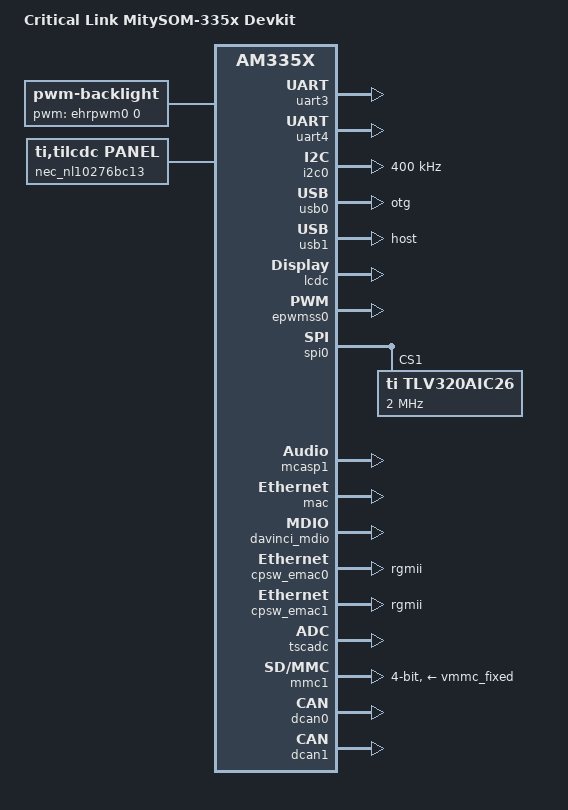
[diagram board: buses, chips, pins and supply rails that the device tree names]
/*
 * Copyright (C) 2012 Texas Instruments Incorporated - http://www.ti.com/
 *
 * This program is free software; you can redistribute it and/or modify
 * it under the terms of the GNU General Public License version 2 as
 * published by the Free Software Foundation.
 */
/dts-v1/;

#include "am335x-mitysom-common.dtsi"

/ {
	model = "Critical Link MitySOM-335x Devkit";

	backlight {
		compatible = "pwm-backlight";
		pwms = <&ehrpwm0 0 50000 0>;
		brightness-levels = <0 51 53 56 62 75 101 152 255>;
		default-brightness-level = <8>;
	};

	/* LCD configuraton for the ThreeFive S9700RTWV35TR */
	threefive_s9700rtwv35tr: lcd-controller@0 {
		compatible = "ti,tilcdc,panel";
		status = "disabled";
		model = "threefive,s9700rtwv35tr";
		panel-info {
			ac-bias           = <255>;
			ac-bias-intrpt    = <0>;
			dma-burst-sz      = <16>;
			bpp               = <32>;
			fdd               = <0x80>;
			sync-edge         = <0>;
			sync-ctrl         = <1>;
			raster-order      = <0>;
			fifo-th           = <0>;
		};

		display-timings {
			800x480p62 {
				clock-frequency = <30000000>;
				hactive = <800>;
				vactive = <480>;
				hfront-porch = <39>;
				hback-porch = <39>;
				hsync-len = <47>;
				vback-porch = <29>;
				vfront-porch = <13>;
				vsync-len = <2>;
				hsync-active = <1>;
				vsync-active = <1>;
			};
		};
	};

	nec_nl10276bc13: lcd-controller@1 {
		compatible = "ti,tilcdc,panel";
		pinctrl-names = "default", "sleep";
		pinctrl-0 = <&lcd_pins_default>;
		pinctrl-1 = <&lcd_pins_sleep>;
		status = "ok";
		model = "nec,nl10276bc13";
		panel-info {
			ac-bias           = <255>;
			ac-bias-intrpt    = <0>;
			dma-burst-sz      = <16>;
			bpp               = <32>;
			fdd               = <0x80>;
			sync-edge         = <0>;
			sync-ctrl         = <1>;
			raster-order      = <0>;
			fifo-th           = <0>;
		};
		display-timings {
			1024x768 {
				clock-frequency = <65000000>;
				hactive = <1024>;
				vactive = <768>;
				hfront-porch = <24>;
				hback-porch = <160>;
				hsync-len = <136>;
				vback-porch = <29>;
				vfront-porch = <3>;
				vsync-len = <6>;
				hsync-active = <1>;
				vsync-active = <1>;
			};
		};
	};

	hdmi {
		compatible = "ti,tilcdc,tfp410";
		pinctrl-names = "default", "sleep";
		pinctrl-0 = <&lcd_pins_default>;
		pinctrl-1 = <&lcd_pins_sleep>;
		i2c = <&i2c1>;
		status = "disabled";

		panel-info {
			ac-bias           = <255>;
			ac-bias-intrpt    = <0>;
			dma-burst-sz      = <16>;
			bpp               = <32>;
			fdd               = <0x80>;
			sync-edge         = <0>;
			sync-ctrl         = <1>;
			raster-order      = <0>;
			fifo-th           = <0>;
		};
	};

	sound {
		compatible = "simple-audio-card";
		simple-audio-card,name = "MitySOM-335x";
		simple-audio-card,format = "dsp_a";
		/* SND_SOC_DAIFMT_CBM_CFM */
		simple-audio-card,bitclock-master = <&tlv320aic26_codec>;
		simple-audio-card,frame-master = <&tlv320aic26_codec>;
		/* SND_SOC_DAIFMT_IB_NF */
		simple-audio-card,bitclock-inversion;

		simple-audio-card,cpu {
			sound-dai = <&mcasp1>;
			system-clock-frequency = <24576000>;
		};


		tlv320aic26_codec: simple-audio-card,codec {
			sound-dai = <&tlv320aic26>;
			system-clock-frequency = <24576000>;
		};
	};
};

&am33xx_pinmux {
	pinctrl-names = "default";
	pinctrl-0 = <&clkout2_pin>;

	i2c0_pins: pinmux_i2c0_pins {
		pinctrl-single,pins = <
			AM33XX_IOPAD(0x988, PIN_INPUT_PULLUP | MUX_MODE0)	/* i2c0_sda.i2c0_sda */
			AM33XX_IOPAD(0x98C, PIN_INPUT_PULLUP | MUX_MODE0)	/* i2c0_scl.i2c0_scl */
		>;
	};

	/* EXPANSION 1 */
	uart3_pins: pinmux_uart3_pins {
		pinctrl-single,pins = <
			AM33XX_IOPAD(0x934, PIN_INPUT_PULLUP | MUX_MODE1)	/* mii1_rxd3.uart3_rxd */
			AM33XX_IOPAD(0x938, PIN_OUTPUT_PULLDOWN | MUX_MODE1)	/* mii1_rxd2.uart3_txd */
			AM33XX_IOPAD(0x92C, PIN_OUTPUT_PULLDOWN | MUX_MODE7)	/* mii1_tx_clk.gpio3_9 */
		>;
	};

	/* EXPANSION 0 */
	uart4_pins: pinmux_uart4_pins {
		pinctrl-single,pins = <
			AM33XX_IOPAD(0x968, PIN_INPUT_PULLUP | MUX_MODE1)	/* uart0_ctsn.uart4_rxd*/
			AM33XX_IOPAD(0x96C, PIN_OUTPUT_PULLDOWN | MUX_MODE1)	/* uart0_rtsn.uart4_txd */
			AM33XX_IOPAD(0x93C, PIN_OUTPUT_PULLDOWN | MUX_MODE7)	/* mii1_rxd1.gpio2_20 */

		>;
	};

	clkout2_pin: pinmux_clkout2_pin {
		pinctrl-single,pins = <
			AM33XX_IOPAD(0x9B4, PIN_OUTPUT_PULLDOWN | MUX_MODE3)	/* xdma_event_intr1.clkout2 */
		>;
	};

	spi0_pins: pinmux_spi0_pins {
		pinctrl-single,pins = <
			AM33XX_IOPAD(0x950, PIN_INPUT_PULLUP | MUX_MODE0)	/* spi0_sclk.spi0_sclk */
			AM33XX_IOPAD(0x954, PIN_INPUT_PULLUP | MUX_MODE0)	/* spi0_d0.spi0_d0 MOSI*/
			AM33XX_IOPAD(0x958, PIN_INPUT_PULLDOWN | MUX_MODE0)	/* spi0_d1.spi0_d1 MISO */
			AM33XX_IOPAD(0x95C, PIN_OUTPUT_PULLUP | MUX_MODE0)	/* spi0_cs0.spi0_cs0 */
			AM33XX_IOPAD(0x960, PIN_OUTPUT_PULLUP| MUX_MODE0)	/* spi0_cs1.spi0_cs1 */
		>;
	};

	spi0_sleep_pins: pinmux_spi0_sleep_pins {
		pinctrl-single,pins = <
			AM33XX_IOPAD(0x950, PIN_INPUT_PULLUP | MUX_MODE7)	/* spi0_sclk.spi0_sclk */
			AM33XX_IOPAD(0x954, PIN_INPUT_PULLUP | MUX_MODE7)	/* spi0_d0.spi0_d0 MOSI */
			AM33XX_IOPAD(0x958, PIN_INPUT_PULLUP | MUX_MODE7)	/* spi0_d1.spi0_d1 MISO */
			AM33XX_IOPAD(0x95C, PIN_INPUT_PULLUP | MUX_MODE7)	/* spi0_cs0.spi0_cs0 */
			AM33XX_IOPAD(0x960, PIN_INPUT_PULLUP | MUX_MODE7)	/* spi0_cs1.spi0_cs1 */
		>;
	};

	spi1_pins: pinmux_spi1_pins {
		pinctrl-single,pins = <
			AM33XX_IOPAD(0x964, PIN_INPUT_PULLUP | MUX_MODE4)	/* ecap0_in_pwm0_out.spi1_sclk */
			AM33XX_IOPAD(0x994, PIN_INPUT_PULLUP | MUX_MODE3)	/* mcasp0_fsx.spi1_d0 MOSI */
			AM33XX_IOPAD(0x998, PIN_INPUT_PULLDOWN | MUX_MODE3)	/* mcasp0_axr0.spi1_d1 MISO */
			AM33XX_IOPAD(0x99C, PIN_INPUT_PULLUP | MUX_MODE3)	/* mcasp0_ahclkr.spi1_cs0 SOM:CS0*/
		>;
	};

	spi1_sleep_pins: pinmux_spi1_sleep_pins {
		pinctrl-single,pins = <
			AM33XX_IOPAD(0x964, PIN_INPUT_PULLUP | MUX_MODE7)	/* ecap0_in_pwm0_out.spi1_sclk */
			AM33XX_IOPAD(0x994, PIN_INPUT_PULLUP | MUX_MODE7)	/* mcasp0_fsx.spi1_d0 MOSI*/
			AM33XX_IOPAD(0x998, PIN_INPUT_PULLUP | MUX_MODE7)	/* mcasp0_axr0.spi1_d1 MISO*/
			AM33XX_IOPAD(0x99C, PIN_INPUT_PULLUP | MUX_MODE7)	/* mcasp0_ahclkr.spi1_cs0 */
		>;
	};

	ehrpwm0_pins_default: backlight_pins {
		pinctrl-single,pins = <
			AM33XX_IOPAD(0x990, PIN_OUTPUT | MUX_MODE1)		/* mcasp0_aclkx.ehrpwm0a */
		>;
	};

	ehrpwm0_pins_sleep: backlight_pins_sleep {
		pinctrl-single,pins = <
			AM33XX_IOPAD(0x990, PIN_INPUT_PULLDOWN | MUX_MODE7)	/* mcasp0_aclkx.ehrpwm0a */
		>;
	};

	cpsw_default: cpsw_default {
		pinctrl-single,pins = <
			AM33XX_IOPAD(0x840, PIN_OUTPUT | MUX_MODE2)		/* gpmc_a0.rgmii2_tctl */
			AM33XX_IOPAD(0x844, PIN_INPUT_PULLDOWN | MUX_MODE2)	/* gpmc_a1.rgmii2_rctl */
			AM33XX_IOPAD(0x848, PIN_OUTPUT | MUX_MODE2)		/* gpmc_a2.rgmii2_td3  */
			AM33XX_IOPAD(0x84C, PIN_OUTPUT | MUX_MODE2)		/* gpmc_a3.rgmii2_td2  */
			AM33XX_IOPAD(0x850, PIN_OUTPUT | MUX_MODE2)		/* gpmc_a4.rgmii2_td1  */
			AM33XX_IOPAD(0x854, PIN_OUTPUT | MUX_MODE2)		/* gpmc_a5.rgmii2_td0  */
			AM33XX_IOPAD(0x858, PIN_OUTPUT | MUX_MODE2)		/* gpmc_a6.rgmii2_tclk */
			AM33XX_IOPAD(0x85C, PIN_INPUT_PULLDOWN | MUX_MODE2)	/* gpmc_a7.rgmii2_rclk */
			AM33XX_IOPAD(0x860, PIN_INPUT_PULLDOWN | MUX_MODE2)	/* gpmc_a8.rgmii2_rd3  */
			AM33XX_IOPAD(0x864, PIN_INPUT_PULLDOWN | MUX_MODE2)	/* gpmc_a9.rgmii2_rd2  */
			AM33XX_IOPAD(0x868, PIN_INPUT_PULLDOWN | MUX_MODE2)	/* gpmc_a10.rgmii2_rd1 */
			AM33XX_IOPAD(0x86C, PIN_INPUT_PULLDOWN | MUX_MODE2)	/* gpmc_a11.rgmii2_rd0 */
		>;
	};

	cpsw_sleep: cpsw_sleep {
		pinctrl-single,pins = <
			/* Slave 1 reset value */
			AM33XX_IOPAD(0x840, PIN_OUTPUT | MUX_MODE2)		/* gpmc_a0.rgmii2_tctl */
			AM33XX_IOPAD(0x844, PIN_INPUT_PULLDOWN | MUX_MODE2)	/* gpmc_a1.rgmii2_rctl */
			AM33XX_IOPAD(0x848, PIN_OUTPUT | MUX_MODE2)		/* gpmc_a2.rgmii2_td3  */
			AM33XX_IOPAD(0x84C, PIN_OUTPUT | MUX_MODE2)		/* gpmc_a3.rgmii2_td2  */
			AM33XX_IOPAD(0x850, PIN_OUTPUT | MUX_MODE2)		/* gpmc_a4.rgmii2_td1  */
			AM33XX_IOPAD(0x854, PIN_OUTPUT | MUX_MODE2)		/* gpmc_a5.rgmii2_td0  */
			AM33XX_IOPAD(0x858, PIN_OUTPUT | MUX_MODE2)		/* gpmc_a6.rgmii2_tclk */
			AM33XX_IOPAD(0x85C, PIN_INPUT_PULLDOWN | MUX_MODE2)	/* gpmc_a7.rgmii2_rclk */
			AM33XX_IOPAD(0x860, PIN_INPUT_PULLDOWN | MUX_MODE2)	/* gpmc_a8.rgmii2_rd3  */
			AM33XX_IOPAD(0x864, PIN_INPUT_PULLDOWN | MUX_MODE2)	/* gpmc_a9.rgmii2_rd2  */
			AM33XX_IOPAD(0x868, PIN_INPUT_PULLDOWN | MUX_MODE2)	/* gpmc_a10.rgmii2_rd1 */
			AM33XX_IOPAD(0x86C, PIN_INPUT_PULLDOWN | MUX_MODE2)	/* gpmc_a11.rgmii2_rd0 */
		>;
	};

	davinci_mdio_default: davinci_mdio_default {
		pinctrl-single,pins = <
			AM33XX_IOPAD(0x948, PIN_INPUT_PULLUP | SLEWCTRL_FAST| MUX_MODE0)	/* mdio_data.mdio_data */
			AM33XX_IOPAD(0x94C, PIN_OUTPUT_PULLUP | MUX_MODE0)			/* mdio_clk.mdio_clk */
		>;
	};

	davinci_mdio_sleep: davinci_mdio_sleep {
		pinctrl-single,pins = <
			AM33XX_IOPAD(0x948, PIN_INPUT_PULLDOWN | MUX_MODE7)
			AM33XX_IOPAD(0x94C, PIN_INPUT_PULLDOWN | MUX_MODE7)
		>;
	};

	mmc1_pins_default: pinmux_mmc1_pins {
		pinctrl-single,pins = <
			AM33XX_IOPAD(0x8F0, PIN_INPUT_PULLUP | MUX_MODE0)	/* mmc0_dat3.mmc0_dat3 */
			AM33XX_IOPAD(0x8F4, PIN_INPUT_PULLUP | MUX_MODE0)	/* mmc0_dat2.mmc0_dat2 */
			AM33XX_IOPAD(0x8F8, PIN_INPUT_PULLUP | MUX_MODE0)	/* mmc0_dat1.mmc0_dat1 */
			AM33XX_IOPAD(0x8FC, PIN_INPUT_PULLUP | MUX_MODE0)	/* mmc0_dat0.mmc0_dat0 */
			AM33XX_IOPAD(0x900, PIN_INPUT_PULLUP | MUX_MODE0)	/* mmc0_clk.mmc0_clk */
			AM33XX_IOPAD(0x904, PIN_INPUT_PULLUP | MUX_MODE0)	/* mmc0_cmd.mmc0_cmd */
			AM33XX_IOPAD(0x914, PIN_INPUT | MUX_MODE7)		/* mii1_txen.gpio3_3 CD */
			AM33XX_IOPAD(0x908, PIN_INPUT_PULLUP | MUX_MODE7)	/* mii1_col.gpio3_0 WP */
		>;
	};

	mmc1_pins_sleep: pinmux_mmc1_pins_sleep {
		pinctrl-single,pins = <
			AM33XX_IOPAD(0x8F0, PIN_INPUT_PULLUP | MUX_MODE0)	/* mmc0_dat3.mmc0_dat3 */
			AM33XX_IOPAD(0x8F4, PIN_INPUT_PULLUP | MUX_MODE0)	/* mmc0_dat2.mmc0_dat2 */
			AM33XX_IOPAD(0x8F8, PIN_INPUT_PULLUP | MUX_MODE0)	/* mmc0_dat1.mmc0_dat1 */
			AM33XX_IOPAD(0x8FC, PIN_INPUT_PULLUP | MUX_MODE0)	/* mmc0_dat0.mmc0_dat0 */
			AM33XX_IOPAD(0x900, PIN_INPUT_PULLUP | MUX_MODE0)	/* mmc0_clk.mmc0_clk */
			AM33XX_IOPAD(0x904, PIN_INPUT_PULLUP | MUX_MODE0)	/* mmc0_cmd.mmc0_cmd */
			AM33XX_IOPAD(0x914, PIN_INPUT_PULLUP | MUX_MODE7)	/* mii1_txen.gpio3_3 CD */
			AM33XX_IOPAD(0x908, PIN_INPUT_PULLUP | MUX_MODE7)	/* mii1_col.gpio3_0 WP */
		>;
	};

	lcd_pins_default: lcd_pins_default {
		pinctrl-single,pins = <
			AM33XX_IOPAD(0x8A0, PIN_OUTPUT | MUX_MODE0)		/* lcd_data0.lcd_data0 */
			AM33XX_IOPAD(0x8A4, PIN_OUTPUT | MUX_MODE0)		/* lcd_data1.lcd_data1 */
			AM33XX_IOPAD(0x8A8, PIN_OUTPUT | MUX_MODE0)		/* lcd_data2.lcd_data2 */
			AM33XX_IOPAD(0x8AC, PIN_OUTPUT | MUX_MODE0)		/* lcd_data3.lcd_data3 */
			AM33XX_IOPAD(0x8B0, PIN_OUTPUT | MUX_MODE0)		/* lcd_data4.lcd_data4 */
			AM33XX_IOPAD(0x8B4, PIN_OUTPUT | MUX_MODE0)		/* lcd_data5.lcd_data5 */
			AM33XX_IOPAD(0x8B8, PIN_OUTPUT | MUX_MODE0)		/* lcd_data6.lcd_data6 */
			AM33XX_IOPAD(0x8BC, PIN_OUTPUT | MUX_MODE0)		/* lcd_data7.lcd_data7 */
			AM33XX_IOPAD(0x8C0, PIN_OUTPUT | MUX_MODE0)		/* lcd_data8.lcd_data8 */
			AM33XX_IOPAD(0x8C4, PIN_OUTPUT | MUX_MODE0)		/* lcd_data9.lcd_data9 */
			AM33XX_IOPAD(0x8C8, PIN_OUTPUT | MUX_MODE0)		/* lcd_data10.lcd_data10 */
			AM33XX_IOPAD(0x8CC, PIN_OUTPUT | MUX_MODE0)		/* lcd_data11.lcd_data11 */
			AM33XX_IOPAD(0x8D0, PIN_OUTPUT | MUX_MODE0)		/* lcd_data12.lcd_data12 */
			AM33XX_IOPAD(0x8D4, PIN_OUTPUT | MUX_MODE0)		/* lcd_data13.lcd_data13 */
			AM33XX_IOPAD(0x8D8, PIN_OUTPUT | MUX_MODE0)		/* lcd_data14.lcd_data14 */
			AM33XX_IOPAD(0x8DC, PIN_OUTPUT | MUX_MODE0)		/* lcd_data15.lcd_data15 */
			AM33XX_IOPAD(0x8E0, PIN_OUTPUT_PULLDOWN | MUX_MODE0)	/* lcd_vsync.lcd_vsync */
			AM33XX_IOPAD(0x8E4, PIN_OUTPUT_PULLDOWN | MUX_MODE0)	/* lcd_hsync.lcd_hsync */
			AM33XX_IOPAD(0x8E8, PIN_OUTPUT_PULLDOWN | MUX_MODE0)	/* lcd_pclk.lcd_pclk */
			AM33XX_IOPAD(0x8EC, PIN_OUTPUT_PULLDOWN | MUX_MODE0)	/* lcd_ac_bias_en.lcd_ac_bias_en */
		>;
	};

	lcd_pins_sleep: lcd_pins_sleep {
		pinctrl-single,pins = <
			AM33XX_IOPAD(0x8A0, PULL_DISABLE | MUX_MODE7)		/* lcd_data0.lcd_data0 */
			AM33XX_IOPAD(0x8A4, PULL_DISABLE | MUX_MODE7)		/* lcd_data1.lcd_data1 */
			AM33XX_IOPAD(0x8A8, PULL_DISABLE | MUX_MODE7)		/* lcd_data2.lcd_data2 */
			AM33XX_IOPAD(0x8AC, PULL_DISABLE | MUX_MODE7)		/* lcd_data3.lcd_data3 */
			AM33XX_IOPAD(0x8B0, PULL_DISABLE | MUX_MODE7)		/* lcd_data4.lcd_data4 */
			AM33XX_IOPAD(0x8B4, PULL_DISABLE | MUX_MODE7)		/* lcd_data5.lcd_data5 */
			AM33XX_IOPAD(0x8B8, PULL_DISABLE | MUX_MODE7)		/* lcd_data6.lcd_data6 */
			AM33XX_IOPAD(0x8BC, PULL_DISABLE | MUX_MODE7)		/* lcd_data7.lcd_data7 */
			AM33XX_IOPAD(0x8C0, PULL_DISABLE | MUX_MODE7)		/* lcd_data8.lcd_data8 */
			AM33XX_IOPAD(0x8C4, PULL_DISABLE | MUX_MODE7)		/* lcd_data9.lcd_data9 */
			AM33XX_IOPAD(0x8C8, PULL_DISABLE | MUX_MODE7)		/* lcd_data10.lcd_data10 */
			AM33XX_IOPAD(0x8CC, PULL_DISABLE | MUX_MODE7)		/* lcd_data11.lcd_data11 */
			AM33XX_IOPAD(0x8D0, PULL_DISABLE | MUX_MODE7)		/* lcd_data12.lcd_data12 */
			AM33XX_IOPAD(0x8D4, PULL_DISABLE | MUX_MODE7)		/* lcd_data13.lcd_data13 */
			AM33XX_IOPAD(0x8D8, PULL_DISABLE | MUX_MODE7)		/* lcd_data14.lcd_data14 */
			AM33XX_IOPAD(0x8DC, PULL_DISABLE | MUX_MODE7)		/* lcd_data15.lcd_data15 */
			AM33XX_IOPAD(0x8E0, PIN_INPUT_PULLDOWN | MUX_MODE7)	/* lcd_vsync.lcd_vsync */
			AM33XX_IOPAD(0x8E4, PIN_INPUT_PULLDOWN | MUX_MODE7)	/* lcd_hsync.lcd_hsync */
			AM33XX_IOPAD(0x8E8, PIN_INPUT_PULLDOWN | MUX_MODE7)	/* lcd_pclk.lcd_pclk */
			AM33XX_IOPAD(0x8EC, PIN_INPUT_PULLDOWN | MUX_MODE7)	/* lcd_ac_bias_en.lcd_ac_bias_en */
		>;
	};

	am335x_evm_audio_pins: am335x_evm_audio_pins {
		pinctrl-single,pins = <
			AM33XX_IOPAD(0x9A0, PIN_INPUT_PULLDOWN | MUX_MODE3)	/* mcasp0_aclkr.mcasp1_aclkx */
			AM33XX_IOPAD(0x9A4, PIN_INPUT_PULLDOWN | MUX_MODE3) 	/* mcasp0_fsr.mcasp1_fsx */
			AM33XX_IOPAD(0x9A8, PIN_OUTPUT_PULLDOWN | MUX_MODE3) 	/* mcasp0_axr1.mcasp1_axr0 */
			AM33XX_IOPAD(0x9AC, PIN_INPUT_PULLDOWN | MUX_MODE3) 	/* mcasp0_ahclkx.mcasp1_axr1 */
			AM33XX_IOPAD(0x940, PIN_INPUT_PULLDOWN | MUX_MODE4) 	/* mii1_rxd0.mcasp1_ahclkr */
			AM33XX_IOPAD(0x944, PIN_INPUT_PULLDOWN | MUX_MODE6) 	/* rmii1_refclk.mcasp1_ahclkx */
		>;
	};

	am335x_evm_audio_pins_sleep: am335x_evm_audio_pins_sleep {
		pinctrl-single,pins = <
			AM33XX_IOPAD(0x9A0, PIN_INPUT_PULLDOWN | MUX_MODE7)	/* mcasp0_aclkr.mcasp1_aclkx */
			AM33XX_IOPAD(0x9A4, PIN_INPUT_PULLDOWN | MUX_MODE7)	/* mcasp0_fsr.mcasp1_fsx */
			AM33XX_IOPAD(0x9A8, PIN_INPUT_PULLDOWN | MUX_MODE7)	/* mcasp0_axr1.mcasp1_axr0 */
			AM33XX_IOPAD(0x9AC, PIN_INPUT_PULLDOWN | MUX_MODE7)	/* mcasp0_ahclkx.mcasp1_axr1 */
			AM33XX_IOPAD(0x940, PIN_INPUT_PULLDOWN | MUX_MODE7)	/* mii1_rxd0.mcasp1_ahclkr */
			AM33XX_IOPAD(0x944, PIN_INPUT_PULLDOWN | MUX_MODE7)	/* rmii1_refclk.mcasp1_ahclkx */
		>;
	};

	dcan0_pins_default: dcan0_pins_default {
		pinctrl-single,pins = <
			AM33XX_IOPAD(0x91C, PIN_OUTPUT | MUX_MODE1)		/* mii1_txd3.d_can0_tx */
			AM33XX_IOPAD(0x920, PIN_INPUT_PULLDOWN | MUX_MODE1)	/* mii1_txd2.d_can1_rxd */
		>;
	};

	dcan1_pins_default: dcan1_pins_default {
		pinctrl-single,pins = <
			AM33XX_IOPAD(0x980, PIN_OUTPUT | MUX_MODE2)		/* uart1_rxd.dcan1_txd */
			AM33XX_IOPAD(0x984, PIN_INPUT_PULLDOWN | MUX_MODE2)	/* uart1_txd.dcan1_rxd */
		>;
	};
};

/* RS485 EXPANSION 1 */
&uart3 {
	pinctrl-names = "default";
	pinctrl-0 = <&uart3_pins>;
	rts-gpio = <&gpio3 9 GPIO_ACTIVE_HIGH>;
	rs485-rts-delay =<0 0>;
	rs485-rts-active-high;
	/*rs485-rx-during-tx;*/
	linux,rs485-enabled-at-boot-time;
	status = "okay";
};

/* RS485 EXPANSION 0 */
&uart4 {
	pinctrl-names = "default";
	pinctrl-0 = <&uart4_pins>;
	rts-gpio = <&gpio2 20 GPIO_ACTIVE_HIGH>;
	rs485-rts-delay =<0 0>;
	rs485-rts-active-high;
	/*rs485-rx-during-tx;*/
	linux,rs485-enabled-at-boot-time;
	status = "okay";
};

&i2c0 {
	pinctrl-names = "default";
	pinctrl-0 = <&i2c0_pins>;

	status = "okay";
	clock-frequency = <400000>;

};

&i2c1 {
	/* SOM Factory EEPROM 0x50 - 0x57 */
	/* SOM PMIC SmartReflex 0x12 */
};

&usb0 {
	status = "okay";
	/* Port will act as an OTG device if the baseboard supports this feature */
	dr_mode = "otg";
};

&usb1 {
	status = "okay";
	dr_mode = "host";
};

&lcdc {
	status = "okay";
};

&epwmss0 {
	status = "okay";

	ehrpwm0: pwm@48300200 {
		status = "okay";
		pinctrl-names = "default", "sleep";
		pinctrl-0 = <&ehrpwm0_pins_default>;
		pinctrl-1 = <&ehrpwm0_pins_sleep>;
	};
};

&spi0 {
	pinctrl-names = "default", "sleep";
	pinctrl-0 = <&spi0_pins>;
	pinctrl-1 = <&spi0_sleep_pins>;

	status = "okay";
	ti,pindir-d0-out-d1-in = <1>;

	tlv320aic26: tlv320aic26@1 {
		#sound-dai-cells = <0>;
		compatible = "ti,tlv320aic26";
		reg = <0x1>;
		status = "okay";

		spi-max-frequency = <2000000>;
		spi-cpha;
	};
};

&spi1 {
	/* CS0 On-SOM NOR */
};

&mcasp1 {
	#sound-dai-cells = <0>;
	pinctrl-names = "default", "sleep";
	pinctrl-0 = <&am335x_evm_audio_pins>;
	pinctrl-1 = <&am335x_evm_audio_pins_sleep>;

	status = "okay";

	op-mode = <0>; /* MCASP_IIS_MODE */
	tdm-slots = <2>;
	/* 4 serializers */
	serial-dir = <  /* 0: INACTIVE, 1: TX, 2: RX */
		1 2 0 0
	>;
	tx-num-evt = <32>;
	rx-num-evt = <32>;
};

&mac {
	pinctrl-names = "default", "sleep";
	pinctrl-0 = <&cpsw_default>;
	pinctrl-1 = <&cpsw_sleep>;
	status = "okay";
};

&davinci_mdio {
	pinctrl-names = "default", "sleep";
	pinctrl-0 = <&davinci_mdio_default>;
	pinctrl-1 = <&davinci_mdio_sleep>;
	status = "okay";
};

&cpsw_emac0 {
	phy_id = <&davinci_mdio>, <1>;
	phy-mode = "rgmii";
};

&cpsw_emac1 {
	phy_id = <&davinci_mdio>, <2>;
	phy-mode = "rgmii";
};

/* ADC and Touchscreen */
&tscadc {
	status = "okay";
	tsc {
		ti,wires = <4>;
		ti,x-plate-resistance = <200>;
		ti,coordinate-readouts = <5>;
		ti,wire-config = <0x00 0x11 0x22 0x33>;
		ti,charge-delay = <0xB000>;
	};

	adc {
		ti,adc-channels = <4 5 6 7>;
	};
};

&mmc1 {
	status = "okay";
	vmmc-supply = <&vmmc_fixed>;
	bus-width = <4>;
	pinctrl-names = "default", "sleep";
	pinctrl-0 = <&mmc1_pins_default>;
	pinctrl-1 = <&mmc1_pins_sleep>;
	/*
	 * Uncomment cd and wp if you want to use hardware card-detect/write-protect.
	 * Disabled by default to support boards with fullsized sd cards and microsd cards
	 */
	/* cd-gpios = <&gpio3 3 GPIO_ACTIVE_HIGH>; */
	/*cd-inverted;*/
	/* wp-gpios = <&gpio3 0 GPIO_ACTIVE_HIGH>; */
};

&dcan0 {
	status = "okay";
	pinctrl-names = "default";
	pinctrl-0 = <&dcan0_pins_default>;
};

&dcan1 {
	status = "okay";
	pinctrl-names = "default";
	pinctrl-0 = <&dcan1_pins_default>;
};

&rtc {
	system-power-controller;
};
